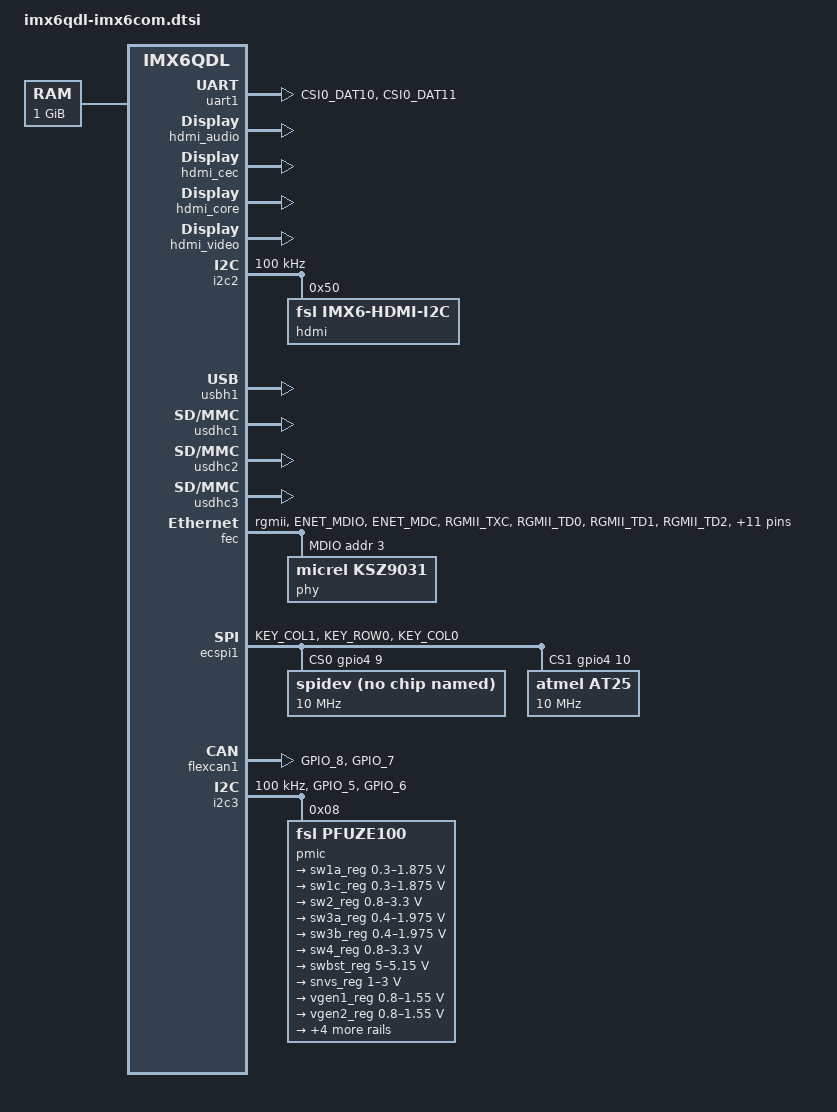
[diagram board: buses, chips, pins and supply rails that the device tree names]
/*
 * Copyright 2013 Freescale Semiconductor, Inc.
 *
 * Author: Fabio Estevam <fabio.estevam@freescale.com>
 *
 * This program is free software; you can redistribute it and/or modify
 * it under the terms of the GNU General Public License version 2 as
 * published by the Free Software Foundation.
 *
 */

/ {
	chosen {
			bootargs ="console=ttymxc0,115200n8 no_console_suspend root=/dev/mmcblk0p2 rw rootwait";
	};

	memory {
		reg = <0x10000000 0x40000000>;
	};

	aliases {
		mxcfb0 = &mxcfb1;
		mxcfb1 = &mxcfb2;
		mxcfb2 = &mxcfb3;
		mxcfb3 = &mxcfb4;
	};

	sound-hdmi {
		compatible = "fsl,imx6q-audio-hdmi",
			     "fsl,imx-audio-hdmi";
		model = "imx-audio-hdmi";
		hdmi-controller = <&hdmi_audio>;
	};

	mxcfb1: fb@0 {
		compatible = "fsl,mxc_sdc_fb";
		disp_dev = "ldb";
		interface_pix_fmt = "RGB666";
		mode_str ="LDB-XGA";
		default_bpp = <16>;
		int_clk = <0>;
		late_init = <0>;
		status = "disabled";
	};

	mxcfb2: fb@1 {
		compatible = "fsl,mxc_sdc_fb";
		disp_dev = "hdmi";
		interface_pix_fmt = "RGB24";
		mode_str ="1920x1080M@60";
		default_bpp = <24>;
		int_clk = <0>;
		late_init = <0>;
		status = "disabled";
	};

	mxcfb3: fb@2 {
		compatible = "fsl,mxc_sdc_fb";
		disp_dev = "lcd";
		interface_pix_fmt = "RGB565";
		mode_str ="CLAA-WVGA";
		default_bpp = <16>;
		int_clk = <0>;
		late_init = <0>;
		status = "disabled";
	};

	mxcfb4: fb@3 {
		compatible = "fsl,mxc_sdc_fb";
		disp_dev = "ldb";
		interface_pix_fmt = "RGB666";
		mode_str ="LDB-XGA";
		default_bpp = <16>;
		int_clk = <0>;
		late_init = <0>;
		status = "disabled";
	};
};

&uart1 {
	pinctrl-names = "default";
	pinctrl-0 = <&pinctrl_uart1>;
	status = "okay";
};


&gpu {
	pu-supply = <&pu_dummy>; /* ldo-bypass:use pu_dummy if VDDSOC share with VDDPU */
};

&hdmi_audio {
	status = "okay";
};

&hdmi_cec {
	pinctrl-names = "default";
	pinctrl-0 = <&pinctrl_hdmi_cec_2>;
	status = "okay";
};

&hdmi_core {
	ipu_id = <0>;
	disp_id = <0>;
	status = "okay";
};

&hdmi_video {
	fsl,phy_reg_vlev = <0x0294>;
	fsl,phy_reg_cksymtx = <0x800d>;
	status = "okay";
};

&i2c2 {
	clock-frequency = <100000>;
	pinctrl-names = "default";
	pinctrl-0 = <&pinctrl_i2c2_2>;
	status = "okay";

	hdmi: edid@50 {
		compatible = "fsl,imx6-hdmi-i2c";
		reg = <0x50>;
	};
};

&usbh1 {
	status = "okay";
};

&usdhc1 {
	pinctrl-names = "default";
	pinctrl-0 = <&pinctrl_usdhc1_1>;
	status = "okay";
};

&usdhc2 {
	pinctrl-names = "default";
	pinctrl-0 = <&pinctrl_usdhc2_2>;
	status = "okay";
};

&usdhc3 {
	pinctrl-names = "default";
	pinctrl-0 = <&pinctrl_usdhc3_1>;
	status = "okay";
};

&fec {
	pinctrl-names = "default";
	pinctrl-0 = <&pinctrl_enet_1>;
	phy-mode = "rgmii";
	status = "okay";
	phy-reset-gpios = <&gpio1 25 0>; /* GPIO1_25 */
	local-mac-address = [00 0A 35 00 01 24];
	mdio {
		#address-cells = <1>;
		#size-cells = <0>;

		phy: phy@3{
			compatible = "micrel,ksz9031";
			device_type = "ethernet-phy";
			reg = <0x3>;
		};
	};
};

&ecspi1 {
	fsl,spi-num-chipselects = <2>;
	cs-gpios = <&gpio4 9 0>, <&gpio4 10 0>;
	pinctrl-names = "default";
	pinctrl-0 = <&pinctrl_ecspi1_2>;
	status = "okay";

	spidev@0x00 {
		compatible = "spidev";
		reg = <0>;
		spi-max-frequency = <10000000>;
	};

	at25@0x01 {
		compatible = "atmel,at25", "st,m95256";
		reg = <1>;
		spi-max-frequency = <10000000>;
		spi-cpha;
		spi-cpol;

		pagesize = <64>;
		size = <262144>;
		address-width = <16>;
	};	
};

&flexcan1 {
	pinctrl-names = "default";
	pinctrl-0 = <&pinctrl_flexcan1_1>;
	trx-stby-gpio = <&gpio4 14 0>;
	status = "okay";
};

&i2c3 {
	clock-frequency = <100000>;
	pinctrl-names = "default";
	pinctrl-0 = <&pinctrl_i2c3_1>;
	status = "okay";

	pmic: pfuze100@08 {
		compatible = "fsl,pfuze100";
		reg = <0x08>;

		regulators {
			sw1a_reg: sw1ab {
				regulator-min-microvolt = <300000>;
				regulator-max-microvolt = <1875000>;
				regulator-boot-on;
				regulator-always-on;
				regulator-ramp-delay = <6250>;
			};

			sw1c_reg: sw1c {
				regulator-min-microvolt = <300000>;
				regulator-max-microvolt = <1875000>;
				regulator-boot-on;
				regulator-always-on;
				regulator-ramp-delay = <6250>;
			};

			sw2_reg: sw2 {
				regulator-min-microvolt = <800000>;
				regulator-max-microvolt = <3300000>;
				regulator-boot-on;
				regulator-always-on;
			};

			sw3a_reg: sw3a {
				regulator-min-microvolt = <400000>;
				regulator-max-microvolt = <1975000>;
				regulator-boot-on;
				regulator-always-on;
			};

			sw3b_reg: sw3b {
				regulator-min-microvolt = <400000>;
				regulator-max-microvolt = <1975000>;
				regulator-boot-on;
				regulator-always-on;
			};

			sw4_reg: sw4 {
				regulator-min-microvolt = <800000>;
				regulator-max-microvolt = <3300000>;
			};

			swbst_reg: swbst {
				regulator-min-microvolt = <5000000>;
				regulator-max-microvolt = <5150000>;
			};

			snvs_reg: vsnvs {
				regulator-min-microvolt = <1000000>;
				regulator-max-microvolt = <3000000>;
				regulator-boot-on;
				regulator-always-on;
			};

			vref_reg: vrefddr {
				regulator-boot-on;
				regulator-always-on;
			};

			vgen1_reg: vgen1 {
				regulator-min-microvolt = <800000>;
				regulator-max-microvolt = <1550000>;
			};

			vgen2_reg: vgen2 {
				regulator-min-microvolt = <800000>;
				regulator-max-microvolt = <1550000>;
			};

			vgen3_reg: vgen3 {
				regulator-min-microvolt = <1800000>;
				regulator-max-microvolt = <3300000>;
				regulator-always-on;
			};

			vgen4_reg: vgen4 {
				regulator-min-microvolt = <1800000>;
				regulator-max-microvolt = <3300000>;
				regulator-always-on;
			};

			vgen5_reg: vgen5 {
				regulator-min-microvolt = <1800000>;
				regulator-max-microvolt = <3300000>;
				regulator-always-on;
			};

			vgen6_reg: vgen6 {
				regulator-min-microvolt = <1800000>;
				regulator-max-microvolt = <3300000>;
				regulator-always-on;
			};
		};
	};
};


&iomuxc {

	uart1 {

		pinctrl_uart1: uart1grp {
			fsl,pins = <
				MX6QDL_PAD_CSI0_DAT10__UART1_TX_DATA	0x1b0b1
				MX6QDL_PAD_CSI0_DAT11__UART1_RX_DATA	0x1b0b1
			>;
		};
	};

	i2c3 {
		pinctrl_i2c3_1: i2c3grp-1 {
			fsl,pins = <
				MX6QDL_PAD_GPIO_5__I2C3_SCL  0x4001b8b1
				MX6QDL_PAD_GPIO_6__I2C3_SDA  0x4001b8b1
			>;
		};
	};

	ecspi1 {

		pinctrl_ecspi1_cs: ecspi1_cs_grp {
			fsl,pins = <
				MX6QDL_PAD_KEY_ROW1__GPIO4_IO09 0x80000000
				MX6QDL_PAD_KEY_COL2__GPIO4_IO10 0x80000000
			>;
		};

		pinctrl_ecspi1_2: ecspi1grp-2 {
			fsl,pins = <
				MX6QDL_PAD_KEY_COL1__ECSPI1_MISO 0x100b1
				MX6QDL_PAD_KEY_ROW0__ECSPI1_MOSI 0x100b1
				MX6QDL_PAD_KEY_COL0__ECSPI1_SCLK 0x100b1
			>;
		};
	};

	enet {

		pinctrl_enet_1: enetgrp-1 {
			fsl,pins = <
				MX6QDL_PAD_ENET_MDIO__ENET_MDIO       0x80000000
				MX6QDL_PAD_ENET_MDC__ENET_MDC         0x80000000
				MX6QDL_PAD_RGMII_TXC__RGMII_TXC       0x80000000
				MX6QDL_PAD_RGMII_TD0__RGMII_TD0       0x80000000
				MX6QDL_PAD_RGMII_TD1__RGMII_TD1       0x80000000
				MX6QDL_PAD_RGMII_TD2__RGMII_TD2       0x80000000
				MX6QDL_PAD_RGMII_TD3__RGMII_TD3       0x80000000
				MX6QDL_PAD_RGMII_TX_CTL__RGMII_TX_CTL 0x80000000
				MX6QDL_PAD_ENET_REF_CLK__ENET_TX_CLK  0x80000000
				MX6QDL_PAD_RGMII_RXC__RGMII_RXC       0x80000000
				MX6QDL_PAD_RGMII_RD0__RGMII_RD0       0x80000000
				MX6QDL_PAD_RGMII_RD1__RGMII_RD1       0x80000000
				MX6QDL_PAD_RGMII_RD2__RGMII_RD2       0x80000000
				MX6QDL_PAD_RGMII_RD3__RGMII_RD3       0x80000000
				MX6QDL_PAD_RGMII_RX_CTL__RGMII_RX_CTL 0x80000000
				MX6QDL_PAD_ENET_CRS_DV__GPIO1_IO25    0x80000000
			>;
		};
	};

	flexcan1 {
		pinctrl_flexcan1_1: flexcan1grp-1 {
			fsl,pins = <
				MX6QDL_PAD_GPIO_8__FLEXCAN1_RX 0x80000000
				MX6QDL_PAD_GPIO_7__FLEXCAN1_TX 0x80000000
			>;
		};
	};
};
